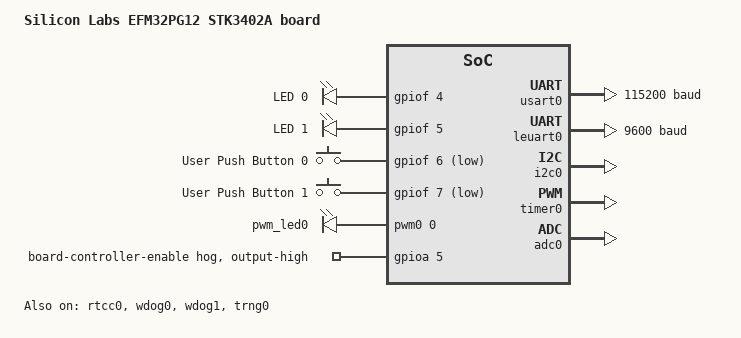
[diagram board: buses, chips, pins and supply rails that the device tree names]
/*
 * Copyright (c) 2017 Christian Taedcke
 * Copyright (c) 2019 Lemonbeat GmbH
 *
 * SPDX-License-Identifier: Apache-2.0
 */

#include "slstk3402a-pinctrl.dtsi"
#include <zephyr/dt-bindings/input/input-event-codes.h>

/ {
	model = "Silicon Labs EFM32PG12 STK3402A board";

	chosen {
		zephyr,console = &usart0;
		zephyr,shell-uart = &usart0;
		zephyr,sram = &sram0;
		zephyr,flash = &flash0;
	};

	/* These aliases are provided for compatibility with samples */
	aliases {
		led0 = &led0;
		led1 = &led1;
		pwm-led0 = &pwm_led0;
		sw0 = &button0;
		sw1 = &button1;
		watchdog0 = &wdog0;
		watchdog1 = &wdog1;
	};

	leds {
		compatible = "gpio-leds";
		led0: led_0 {
			gpios = <&gpiof 4 0>;
			label = "LED 0";
		};
		led1: led_1 {
			gpios = <&gpiof 5 0>;
			label = "LED 1";
		};
	};

	buttons {
		compatible = "gpio-keys";
		button0: button_0 {
			/* gpio flags need validation */
			gpios = <&gpiof 6 GPIO_ACTIVE_LOW>;
			label = "User Push Button 0";
			zephyr,code = <INPUT_KEY_0>;
		};
		button1: button_1 {
			/* gpio flags need validation */
			gpios = <&gpiof 7 GPIO_ACTIVE_LOW>;
			label = "User Push Button 1";
			zephyr,code = <INPUT_KEY_1>;
		};
	};

	pwmleds {
		compatible = "pwm-leds";
		status = "okay";
		pwm_led0: pwm_led0 {
			pwms = <&pwm0 0 PWM_MSEC(20) PWM_POLARITY_NORMAL>;
		};
	};
};

&cpu0 {
	clock-frequency = <40000000>;
};

&usart0 {
	current-speed = <115200>;
	pinctrl-0 = <&usart0_default>;
	pinctrl-names = "default";
	status = "okay";
};

&leuart0 {
	current-speed = <9600>;
	location-rx = <GECKO_LOCATION(18) GECKO_PORT_D GECKO_PIN(11)>;
	location-tx = <GECKO_LOCATION(18) GECKO_PORT_D GECKO_PIN(10)>;
	status = "okay";
};

&i2c0 {
	pinctrl-0 = <&i2c0_default>;
	pinctrl-names = "default";
	status = "okay";
};

&rtcc0 {
	prescaler = <1>;
	status = "okay";
};

&timer0 {
	status = "okay";

	pwm0: pwm {
		status = "okay";
		pin-location = <GECKO_LOCATION(28) GECKO_PORT_F GECKO_PIN(4)>;
		prescaler = <1024>;
	};
};

&gpio {
	location-swo = <0>;
	status = "okay";
};

&gpioa {
	status = "okay";

	board-controller-enable {
		gpio-hog;
		gpios = <5 GPIO_ACTIVE_HIGH>;
		output-high;
	};
};

&gpiob {
	status = "okay";
};

&gpiod {
	status = "okay";
};

&gpiof {
	status = "okay";
};

&wdog0 {
	status = "okay";
};

&wdog1 {
	status = "okay";
};


&flash0 {

	partitions {
		compatible = "fixed-partitions";
		#address-cells = <1>;
		#size-cells = <1>;

		/* Set 6Kb of storage at the end of the 1024Kb of flash */
		storage_partition: partition@fe800 {
			label = "storage";
			reg = <0x000fe800 0x00001800>;
		};

	};
};

&trng0 {
	status = "okay";
};

&adc0 {
	status = "okay";
};
